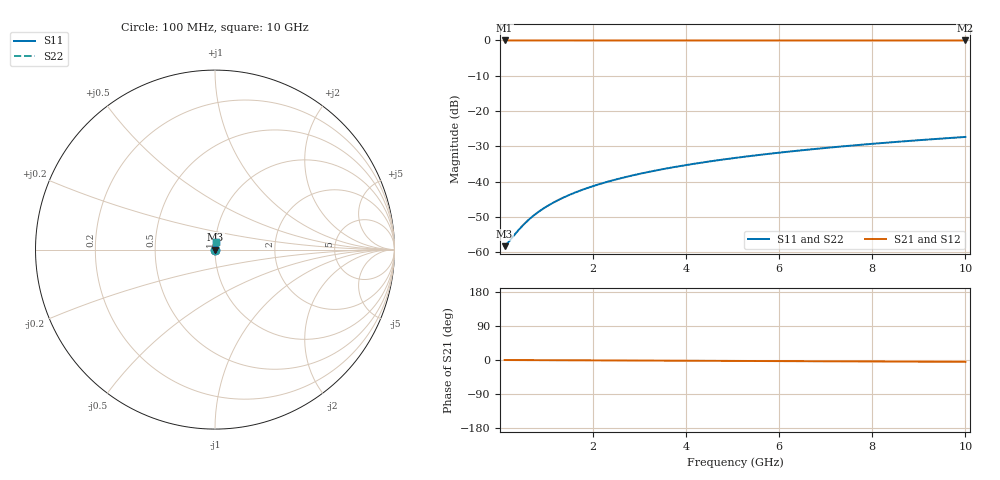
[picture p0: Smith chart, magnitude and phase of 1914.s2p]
# Hz S RI R 50.00
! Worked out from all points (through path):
!   100 points, 100 MHz to 10 GHz, reference 50 ohm
!   highest |S21| = -0.01 dB at 100 MHz (marker M1); lowest = 0.0 dB at 10 GHz (marker M2)
!   lowest |S11| = -58.3 dB at 100 MHz (marker M3), VSWR 1.00, Z = 50.1 + j0.0428 ohm
!   |S11| at or under -10 dB: start of sweep to end of sweep
!   |S22| runs from -58.3 to -27.3 dB; largest |S21 - S12| = 0
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1e8  0.00114 0.000427  0.9989 -0.000843  0.9989 -0.000843  0.00114 0.000427
2e8  0.00115 0.000853  0.9988 -0.00169  0.9988 -0.00169  0.00115 0.000853
4e8  0.00116 0.00171  0.9988 -0.00337  0.9988 -0.00337  0.00116 0.00171
5e8  0.00117 0.00213  0.9988 -0.00422  0.9988 -0.00422  0.00117 0.00213
6e8  0.00118 0.00256  0.9988 -0.00506  0.9988 -0.00506  0.00118 0.00256
7e8  0.00119 0.00299  0.9988 -0.0059  0.9988 -0.0059  0.00119 0.00299
8e8  0.00119 0.00341  0.9988 -0.00675  0.9988 -0.00675  0.00119 0.00341
1e9  0.00121 0.00427  0.9988 -0.00843  0.9988 -0.00843  0.00121 0.00427
1.2e9  0.00123 0.00512  0.9987 -0.0101  0.9987 -0.0101  0.00123 0.00512
1.5e9  0.00127 0.0064  0.9987 -0.0127  0.9987 -0.0127  0.00127 0.0064
1.8e9  0.00131 0.00768  0.9987 -0.0152  0.9987 -0.0152  0.00131 0.00768
2.1e9  0.00135 0.00896  0.9986 -0.0177  0.9986 -0.0177  0.00135 0.00896
2.5e9  0.00143 0.0107  0.9985 -0.0211  0.9985 -0.0211  0.00143 0.0107
2.9e9  0.00151 0.0124  0.9984 -0.0245  0.9984 -0.0245  0.00151 0.0124
3.4e9  0.00163 0.0145  0.9983 -0.0287  0.9983 -0.0287  0.00163 0.0145
4.2e9  0.00186 0.0179  0.998 -0.0354  0.998 -0.0354  0.00186 0.0179
5.1e9  0.00217 0.0218  0.9976 -0.0431  0.9976 -0.0431  0.00217 0.0218
5.9e9  0.00249 0.0252  0.9972 -0.0498  0.9972 -0.0498  0.00249 0.0252
6.7e9  0.00287 0.0286  0.9967 -0.0566  0.9967 -0.0566  0.00287 0.0286
7.5e9  0.00329 0.032  0.9962 -0.0634  0.9962 -0.0634  0.00329 0.032
8.4e9  0.00381 0.0358  0.9955 -0.071  0.9955 -0.071  0.00381 0.0358
1e10  0.0049 0.0427  0.9942 -0.0846  0.9942 -0.0846  0.0049 0.0427
